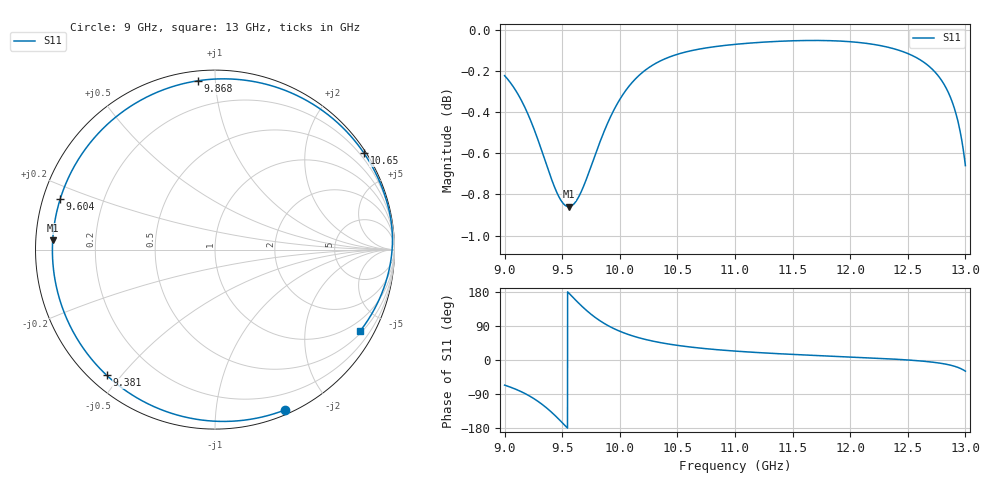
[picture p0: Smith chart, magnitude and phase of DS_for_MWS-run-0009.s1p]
! TOUCHSTONE file generated by CST DESIGN STUDIO
! Date and time: Tue Feb  4 16:46:06 2025
! Project name: C:\Work\MatlabApps\UnitCellOptimizationMatlab\CST\unitcell.cst
! Tree item: Tasks\Sweep1\SPara1\S-Parameters
! Header version: 2024
! Port assignment regex: !\s*Touchstone port\s*([0-9]+)\s*=\s*(CST MWS port|CST DES external port|CST DES block port)\s*(.+)\s* \(\"(.*)\"\)(\s*mode\s*([0-9]+))?.*
! Touchstone port assignment:
! Touchstone port 1 = CST DES external port 1 ("")
# GHz S MA R 50
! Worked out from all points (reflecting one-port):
!   4001 points, 9 GHz to 13 GHz, reference 50 ohm
!   lowest |S11| = -0.9 dB at 9.557 GHz (marker M1), VSWR 20.23, Z = 2.47 + j1.44 ohm
!   phase of S11 starts at -66 deg and turns -323 deg over the sweep
!   S11 on the Smith chart (normalised r, x): 9 GHz: 0.04, -1.53; 9.381 GHz: 0.05, -0.46; 9.604 GHz: 0.05, +0.16; 9.868 GHz: 0.05, +0.90; 10.65 GHz: 0.07, +3.39; 13 GHz: 0.57, -3.72
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9  0.9747 -66.3
9.111  0.9652 -79.0
9.228  0.9503 -97.0
9.308  0.9372 -113.1
9.381  0.9243 -130.7
9.438  0.9151 -146.5
9.5  0.9081 -165.3
9.557  0.9058 176.7
9.604  0.9074 161.9
9.67  0.9141 142.1
9.732  0.9234 125.3
9.797  0.9342 110.0
9.868  0.9454 95.9
9.934  0.9544 85.0
10  0.9618 75.8
10.102  0.9707 64.5
10.216  0.9775 54.7
10.347  0.9826 46.2
10.5  0.9865 38.6
10.651  0.9889 32.9
11  0.9919 23.5
11.5  0.9939 14.8
12  0.9934 7.9
12.5  0.9869 0.1
12.681  0.98 -4.6
12.814  0.9701 -10.1
12.911  0.9557 -17.0
13  0.9269 -29.5
